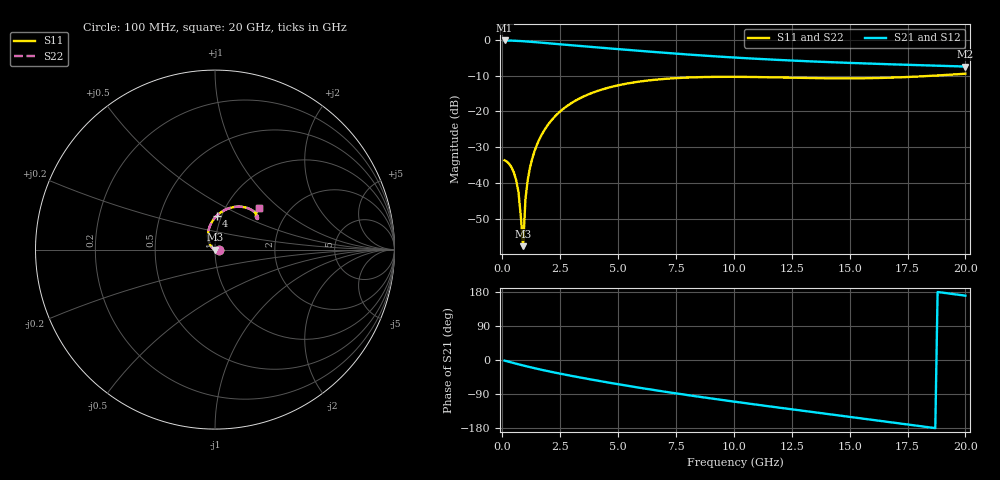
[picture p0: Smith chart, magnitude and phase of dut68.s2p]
! Created with skrf 1.9.0 (http://scikit-rf.org).
# GHz S RI R 50.0
!freq ReS11 ImS11 ReS21 ImS21 ReS12 ImS12 ReS22 ImS22
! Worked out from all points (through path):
!   200 points, 100 MHz to 20 GHz, reference 50 ohm
!   highest |S21| = -0.19 dB at 100 MHz (marker M1); lowest = -7.5 dB at 20 GHz (marker M2)
!   group delay of S21, straight-line fit = 25 ps
!   lowest |S11| = -57.6 dB at 900 MHz (marker M3), VSWR 1.00, Z = 49.9 - j0.0124 ohm
!   |S11| at or under -10 dB: start of sweep to 18.7 GHz
!   |S22| runs from -57.6 to -9.5 dB; largest |S21 - S12| = 2.7e-15
!   S11 on the Smith chart (normalised r, x): 100 MHz: 1.04, -0.00; 4 GHz: 0.95, +0.37; 20 GHz: 1.42, +0.74
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0.1  0.0207 -0.00128  0.9782 -0.0282  0.9782 -0.0282  0.0207 -0.00128
0.4  0.0161 -0.00389  0.9673 -0.1115  0.9673 -0.1115  0.0161 -0.00389
0.6  0.0102 -0.00399  0.9534 -0.1644  0.9534 -0.1644  0.0102 -0.00399
0.7  0.00663 -0.00329  0.9449 -0.1898  0.9449 -0.1898  0.00663 -0.00329
0.8  0.00277 -0.00201  0.9353 -0.2144  0.9353 -0.2144  0.00277 -0.00201
0.9  -0.00131 -0.000124  0.9248 -0.2382  0.9248 -0.2382  -0.00131 -0.000124
1  -0.00548 0.00238  0.9136 -0.2611  0.9136 -0.2611  -0.00548 0.00238
1.1  -0.00968 0.0055  0.9016 -0.2832  0.9016 -0.2832  -0.00968 0.0055
1.2  -0.0138 0.00922  0.8891 -0.3044  0.8891 -0.3044  -0.0138 0.00922
1.3  -0.0178 0.0135  0.876 -0.3247  0.876 -0.3247  -0.0178 0.0135
1.5  -0.025 0.0236  0.8486 -0.3628  0.8486 -0.3628  -0.025 0.0236
1.9  -0.0354 0.0487  0.7904 -0.4296  0.7904 -0.4296  -0.0354 0.0487
2.3  -0.0391 0.0774  0.7299 -0.4852  0.7299 -0.4852  -0.0391 0.0774
2.8  -0.0343 0.114  0.6532 -0.5418  0.6532 -0.5418  -0.0343 0.114
3.5  -0.0134 0.1603  0.5459 -0.601  0.5459 -0.601  -0.0134 0.1603
4  0.00851 0.1872  0.4706 -0.631  0.4706 -0.631  0.00851 0.1872
5.2  0.0707 0.2276  0.2982 -0.6682  0.2982 -0.6682  0.0707 0.2276
6.8  0.1479 0.2385  0.0972 -0.659  0.0972 -0.659  0.1479 0.2385
10.1  0.2307 0.1977  -0.1981 -0.5271  -0.1981 -0.5271  0.2307 0.1977
13.4  0.2369 0.1706  -0.366 -0.3376  -0.366 -0.3376  0.2369 0.1706
16.7  0.2273 0.1886  -0.4371 -0.1281  -0.4371 -0.1281  0.2273 0.1886
20  0.2434 0.2313  -0.4162 0.0753  -0.4162 0.0753  0.2434 0.2313
